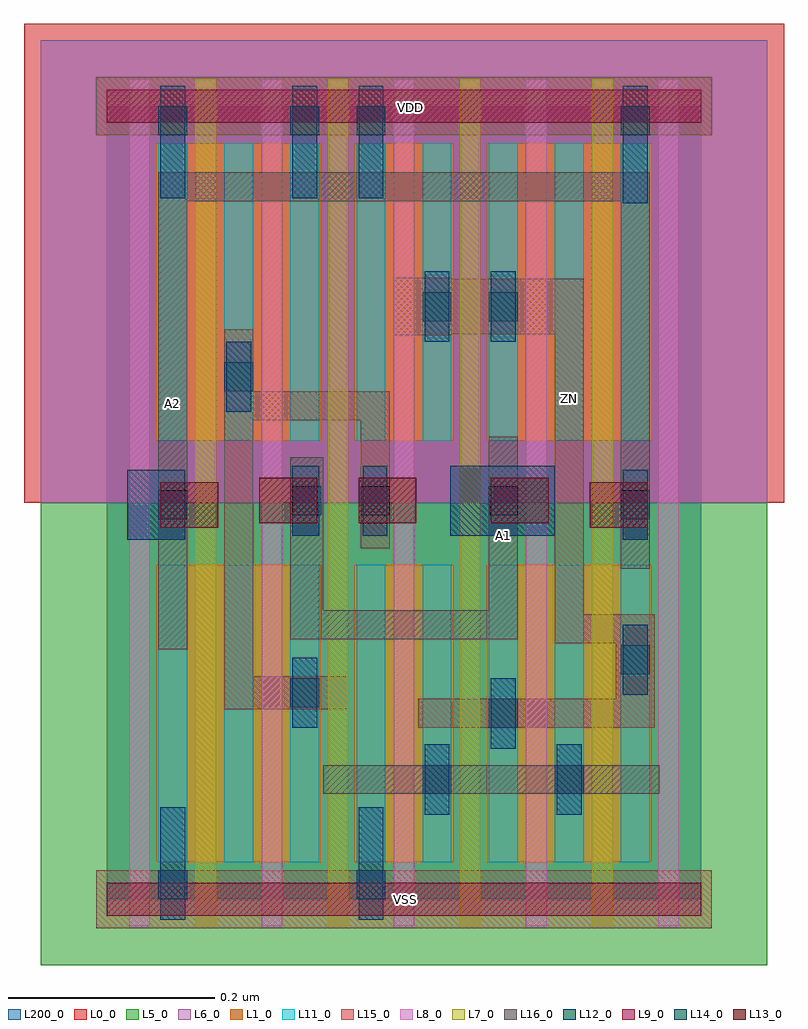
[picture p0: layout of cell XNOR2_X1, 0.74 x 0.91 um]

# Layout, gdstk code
import gdstk
lib = gdstk.Library(unit=1e-6, precision=1e-09)
def R(c, l, rs):  # rectangles x0, y0, x1, y1
    for r in rs: c.add(gdstk.rectangle(r[:2], r[2:], *l))
def A(c, l, x, y, w, h, nx, ny, dx, dy):  # array of equal rectangles
    R(c, l, [(x+i*dx, y+j*dy, x+i*dx+w, y+j*dy+h) for i in range(nx) for j in range(ny)])
def P(c, l, *ps):  # polygons
    for p in ps: c.add(gdstk.Polygon(p, *l))
L0_0 = (0, 0)
L1_0 = (1, 0)
L5_0 = (5, 0)
L6_0 = (6, 0)
L7_0 = (7, 0)
L8_0 = (8, 0)
L9_0 = (9, 0)
L11_0 = (11, 0)
L12_0 = (12, 0)
L13_0 = (13, 0)
L14_0 = (14, 0)
L15_0 = (15, 0)
L16_0 = (16, 0)
L200_0 = (200, 0)

xnor2_x1 = lib.new_cell('XNOR2_X1')
R(xnor2_x1, L0_0, [(-0.08,0.384,0.656,0.848)])
R(xnor2_x1, L1_0, [(0.048,0.036,0.208,0.324), (0.24,0.036,0.336,0.324), (0.368,0.036,0.528,0.324), (0.048,0.444,0.208,0.732), (0.24,0.444,0.336,0.732), (0.368,0.444,0.528,0.732)])
R(xnor2_x1, L5_0, [(-0.064,-0.064,0.64,0.384)])
R(xnor2_x1, L6_0, [(-0.064,0.384,0.64,0.832)])
A(xnor2_x1, L7_0, 0.086, -0.026, 0.02, 0.82, 4, 1, 0.128, 0)
A(xnor2_x1, L8_0, 0.022, -0.026, 0.02, 0.82, 5, 1, 0.128, 0)
R(xnor2_x1, L9_0, [(0,-0.016,0.576,0.016), (0,0.752,0.576,0.784)])
A(xnor2_x1, L11_0, 0.05, 0.036, 0.028, 0.288, 8, 2, 0.064, 0.408)
R(xnor2_x1, L12_0, [(0.052,-0.02,0.076,0.089), (0.244,-0.02,0.268,0.089), (0.308,0.082,0.332,0.15), (0.436,0.082,0.46,0.15), (0.372,0.146,0.396,0.214), (0.18,0.166,0.204,0.234), (0.5,0.198,0.524,0.266), (0.02,0.348,0.076,0.416), (0.5,0.348,0.524,0.416), (0.18,0.352,0.206,0.42), (0.248,0.352,0.272,0.42), (0.333,0.352,0.434,0.42), (0.116,0.472,0.14,0.54), (0.308,0.54,0.332,0.608), (0.372,0.54,0.396,0.608), (0.5,0.674,0.524,0.788), (0.052,0.679,0.076,0.788), (0.18,0.679,0.204,0.788), (0.244,0.679,0.268,0.788)])
R(xnor2_x1, L13_0, [(0.052,0.36,0.108,0.404), (0.468,0.36,0.524,0.404), (0.148,0.364,0.204,0.408), (0.244,0.364,0.3,0.408), (0.372,0.364,0.428,0.408)])
R(xnor2_x1, L14_0, [(0.05,0,0.078,0.028), (0.242,0,0.27,0.028), (0.306,0.102,0.334,0.13), (0.434,0.102,0.462,0.13), (0.37,0.166,0.398,0.194), (0.178,0.186,0.206,0.214), (0.498,0.218,0.526,0.246), (0.05,0.368,0.078,0.396), (0.498,0.368,0.526,0.396), (0.18,0.372,0.208,0.4), (0.246,0.372,0.274,0.4), (0.37,0.372,0.398,0.4), (0.114,0.492,0.142,0.52), (0.306,0.56,0.334,0.588), (0.37,0.56,0.398,0.588), (0.05,0.74,0.078,0.768), (0.178,0.74,0.206,0.768), (0.242,0.74,0.27,0.768), (0.498,0.74,0.526,0.768)])
R(xnor2_x1, L15_0, [(-0.01,-0.028,0.586,0.028), (-0.01,0.74,0.586,0.796)])
P(xnor2_x1, L15_0, [(0.142,0.464),(0.246,0.464),(0.246,0.34),(0.274,0.34),(0.274,0.492),(0.142,0.492),(0.142,0.552),(0.114,0.552),(0.114,0.184),(0.234,0.184),(0.234,0.216),(0.142,0.216)],
  [(0.278,0.546),(0.334,0.546),(0.334,0.547),(0.434,0.547),(0.434,0.248),(0.493,0.248),(0.493,0.194),(0.302,0.194),(0.302,0.166),(0.531,0.166),(0.531,0.276),(0.462,0.276),(0.462,0.601),(0.334,0.601),(0.334,0.602),(0.278,0.602)])
R(xnor2_x1, L16_0, [(0.21,0.102,0.535,0.13)])
P(xnor2_x1, L16_0, [(0.178,0.252),(0.398,0.252),(0.398,0.448),(0.37,0.448),(0.37,0.28),(0.21,0.28),(0.21,0.428),(0.178,0.428)],
  [(0.05,0.242),(0.078,0.242),(0.078,0.676),(0.498,0.676),(0.498,0.32),(0.526,0.32),(0.526,0.704),(0.05,0.704)])
R(xnor2_x1, L200_0, [(0,0,0.576,0.768)])
xnor2_x1.add(gdstk.Label('VSS', (0.289,0), layer=15, texttype=20))
xnor2_x1.add(gdstk.Label('ZN', (0.448,0.485), layer=15, texttype=20))
xnor2_x1.add(gdstk.Label('VDD', (0.294,0.767), layer=15, texttype=20))
xnor2_x1.add(gdstk.Label('A1', (0.384,0.352), layer=16, texttype=20))
xnor2_x1.add(gdstk.Label('A2', (0.064,0.48), layer=16, texttype=20))

lib.write_gds('XNOR2_X1.gds')
